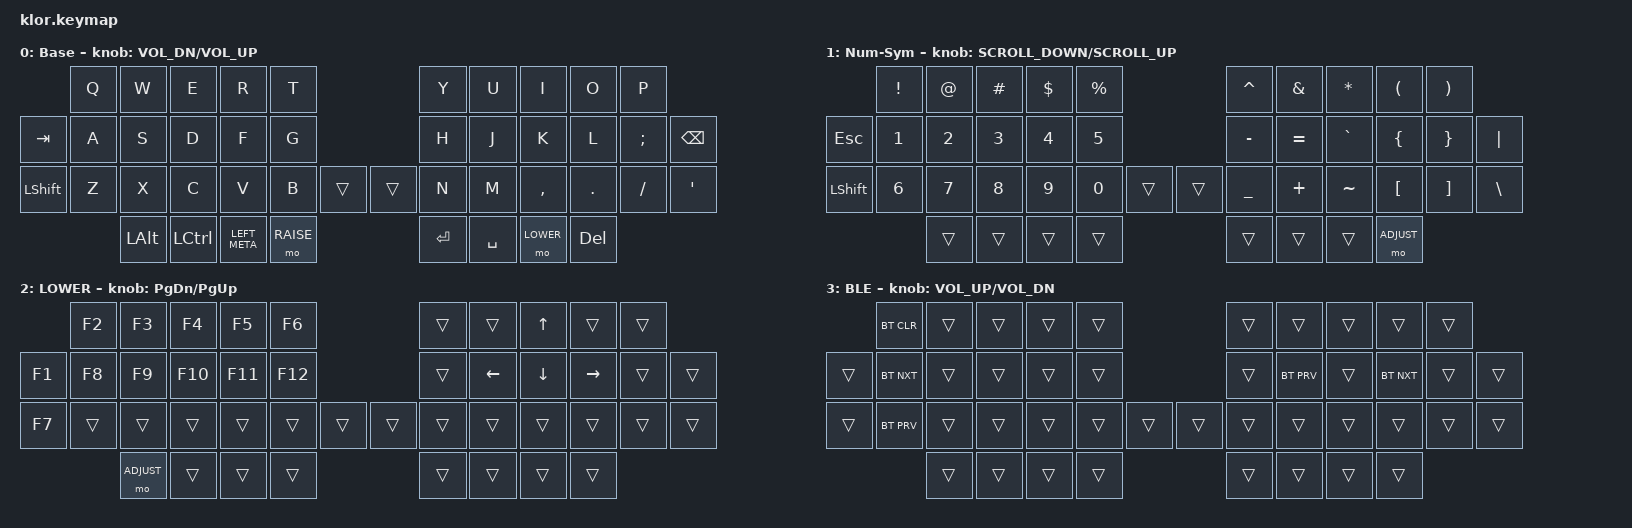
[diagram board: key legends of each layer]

//                               █         █    █            ▄▄▄▀▀▀▀▀▀▄▄▄        █▀▀▀▀▀▀▀▀▀▀█
//                               █        █     █          ▄▀            ▀▄      █          █
//                               █       █      █        ▄▀                ▀▄    █          █
//                               █      █       █        █                  █    █          █
//                               █     █        █       █                    █   █          █
//                               █    █         █       █                    █   █▄▄▄▄▄▄▄▄▄▄█
//                               █   █ █        █       █                    █   █      █
//                               █  █   █       █        █                  █    █       █
//                               █ █     █      █        ▀▄                ▄▀    █        █
//                               ██       █     █          ▀▄            ▄▀      █         █
//                               █         █    █▄▄▄▄▄▄▄▄    ▀▀▀▄▄▄▄▄▄▀▀▀        █          █
//
// ▄▄▄▄▄▄▄▄▄▄▄▄▄▄▄▄▄▄▄▄▄▄▄▄▄▄▄▄▄▄▄▄▄▄▄▄▄▄▄▄▄▄▄▄▄▄▄▄▄▄▄▄▄▄▄▄▄▄▄▄▄▄▄▄▄▄▄▄▄▄▄▄▄▄▄▄▄▄▄▄▄▄▄▄▄▄▄▄▄▄▄▄▄▄▄▄▄▄▄▄▄▄▄▄▄▄▄▄▄▄▄▄▄▄▄▄▄▄▄▄▄▄▄▄▄
// Keymap Created By Nando Sorbello
       
#include <behaviors.dtsi>
#include <dt-bindings/zmk/keys.h>
#include <dt-bindings/zmk/bt.h>
#include <dt-bindings/zmk/outputs.h>
#include <dt-bindings/zmk/ext_power.h>
#include <dt-bindings/zmk/rgb.h>

#define BASE   0
#define LOWER  1
#define RAISE  2
#define ADJUST 3

/ {
    keymap {
      compatible = "zmk,keymap";
// ▄▄▄▄▄▄▄▄▄▄▄▄▄▄▄▄▄▄▄▄▄▄▄▄▄▄▄▄▄▄▄▄▄▄▄▄▄▄▄▄▄▄▄▄▄▄▄▄▄▄▄▄▄▄▄▄▄▄▄▄▄▄▄▄▄▄▄▄▄▄▄▄▄▄▄▄▄▄▄▄▄▄▄▄▄▄▄▄▄▄▄▄▄▄▄▄▄▄▄▄▄▄▄▄▄▄▄▄▄▄▄▄▄▄▄▄▄▄▄▄▄▄▄▄▄

      Alphabet {
        label= "BASE";
        display-name="Base";
        bindings = <
                          &kp Q     &kp W     &kp E     &kp R         &kp T                          &kp Y     &kp U     &kp I     &kp O     &kp P
          &kp TAB         &kp A     &kp S     &kp D     &kp F         &kp G                          &kp H     &kp J     &kp K     &kp L     &kp SEMI  &kp BSPC
          &kp LEFT_SHIFT  &kp Z     &kp X     &kp C     &kp V         &kp B     &trans     &trans    &kp N     &kp M     &kp COMMA &kp DOT   &kp FSLH  &kp SQT
                                    &kp LALT  &kp LCTRL &kp LEFT_META &mo RAISE                      &kp RET   &kp SPACE &mo LOWER &kp DELETE    
        >;
        sensor-bindings = <&inc_dec_kp C_VOL_DN C_VOL_UP>;
      };

// ▄▄▄▄▄▄▄▄▄▄▄▄▄▄▄▄▄▄▄▄▄▄▄▄▄▄▄▄▄▄▄▄▄▄▄▄▄▄▄▄▄▄▄▄▄▄▄▄▄▄▄▄▄▄▄▄▄▄▄▄▄▄▄▄▄▄▄▄▄▄▄▄▄▄▄▄▄▄▄▄▄▄▄▄▄▄▄▄▄▄▄▄▄▄▄▄▄▄▄▄▄▄▄▄▄▄▄▄▄▄▄▄▄▄▄▄▄▄▄▄▄▄▄▄▄

      NumberSymbol {
        label= "RAISE";
        display-name="Num-Sym";
        bindings = <
                          &kp EXCL      &kp AT        &kp HASH      &kp DOLLAR    &kp PERCENT                         &kp CARET      &kp AMPS   &kp ASTERISK  &kp LEFT_PARENTHESIS  &kp RIGHT_PARENTHESIS
          &kp ESC         &kp NUMBER_1  &kp NUMBER_2  &kp NUMBER_3  &kp NUMBER_4  &kp NUMBER_5                        &kp MINUS      &kp EQUAL  &kp GRAVE     &kp LEFT_BRACE        &kp RIGHT_BRACE        &kp PIPE
          &kp LEFT_SHIFT  &kp NUMBER_6  &kp NUMBER_7  &kp NUMBER_8  &kp NUMBER_9  &kp NUMBER_0  &trans        &trans  &kp UNDER      &kp PLUS   &kp TILDE     &kp LEFT_BRACKET      &kp RIGHT_BRACKET      &kp BACKSLASH
                                        &trans        &trans        &trans        &trans                              &trans         &trans     &trans        &mo ADJUST
        >;
        sensor-bindings = <&inc_dec_kp K_SCROLL_DOWN K_SCROLL_UP>;
      };

// ▄▄▄▄▄▄▄▄▄▄▄▄▄▄▄▄▄▄▄▄▄▄▄▄▄▄▄▄▄▄▄▄▄▄▄▄▄▄▄▄▄▄▄▄▄▄▄▄▄▄▄▄▄▄▄▄▄▄▄▄▄▄▄▄▄▄▄▄▄▄▄▄▄▄▄▄▄▄▄▄▄▄▄▄▄▄▄▄▄▄▄▄▄▄▄▄▄▄▄▄▄▄▄▄▄▄▄▄▄▄▄▄▄▄▄▄▄▄▄▄▄▄▄▄▄

      Function {
        label= "LOWER";
        bindings = <
                    &kp F2  &kp F3      &kp F4   &kp F5   &kp F6                         &trans    &trans         &kp UP_ARROW    &trans          &trans     
          &kp F1    &kp F8  &kp F9      &kp F10  &kp F11  &kp F12                        &trans    &kp LEFT_ARROW &kp DOWN_ARROW  &kp RIGHT_ARROW &trans   &trans  
          &kp F7    &trans  &trans      &trans   &trans   &trans    &trans     &trans    &trans    &trans         &trans          &trans          &trans   &trans
                            &mo ADJUST  &trans   &trans   &trans                         &trans    &trans         &trans          &trans  
        >;
        sensor-bindings = <&inc_dec_kp PAGE_DOWN PAGE_UP>;
      };

// ▄▄▄▄▄▄▄▄▄▄▄▄▄▄▄▄▄▄▄▄▄▄▄▄▄▄▄▄▄▄▄▄▄▄▄▄▄▄▄▄▄▄▄▄▄▄▄▄▄▄▄▄▄▄▄▄▄▄▄▄▄▄▄▄▄▄▄▄▄▄▄▄▄▄▄▄▄▄▄▄▄▄▄▄▄▄▄▄▄▄▄▄▄▄▄▄▄▄▄▄▄▄▄▄▄▄▄▄▄▄▄▄▄▄▄▄▄▄▄▄▄▄▄▄▄

      Bluetooth {
        label= "ADJUST";             
        display-name = "BLE";
        bindings = <
                    &bt BT_CLR  &trans    &trans    &trans    &trans                         &trans     &trans      &trans    &trans        &trans   
          &trans    &bt BT_NXT  &trans    &trans    &trans    &trans                         &trans     &bt BT_PRV  &trans    &bt BT_NXT    &trans   &trans 
          &trans    &bt BT_PRV  &trans    &trans    &trans    &trans    &trans     &trans    &trans     &trans      &trans    &trans        &trans   &trans    
                                &trans    &trans    &trans    &trans                         &trans     &trans      &trans    &trans    
        >;
        sensor-bindings = <&inc_dec_kp C_VOL_UP C_VOL_DN>;
      };

// ▄▄▄▄▄▄▄▄▄▄▄▄▄▄▄▄▄▄▄▄▄▄▄▄▄▄▄▄▄▄▄▄▄▄▄▄▄▄▄▄▄▄▄▄▄▄▄▄▄▄▄▄▄▄▄▄▄▄▄▄▄▄▄▄▄▄▄▄▄▄▄▄▄▄▄▄▄▄▄▄▄▄▄▄▄▄▄▄▄▄▄▄▄▄▄▄▄▄▄▄▄▄▄▄▄▄▄▄▄▄▄▄▄▄▄▄▄▄▄▄▄▄▄▄▄
    };
};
